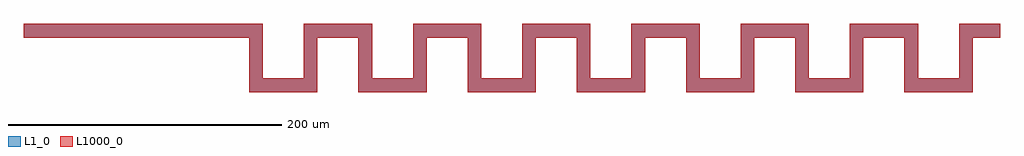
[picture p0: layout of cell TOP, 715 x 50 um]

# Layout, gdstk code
from math import pi, radians
import gdstk
lib = gdstk.Library(unit=1e-6, precision=1e-09)
def R(c, l, rs):  # rectangles x0, y0, x1, y1
    for r in rs: c.add(gdstk.rectangle(r[:2], r[2:], *l))
def P(c, l, *ps):  # polygons
    for p in ps: c.add(gdstk.Polygon(p, *l))
L1_0 = (1, 0)
L1000_0 = (1000, 0)

c_me = lib.new_cell('ME')
c_me.add(gdstk.FlexPath([(9,12),(9,32),(-16,32)], 10, ends="flush", simple_path=True, layer=1, datatype=0))  # L1_0

top = lib.new_cell('TOP')
R(top, L1_0, [(0,40,145,50)])
R(top, L1000_0, [(0,40,145,50)])
P(top, L1000_0, [(645,25),(645,40),(625,40),(625,50),(655,50),(655,25)],
  [(605,25),(605,50),(635,50),(635,40),(615,40),(615,25)],
  [(585,0),(585,10),(605,10),(605,25),(615,25),(615,0)],
  [(645,0),(645,25),(655,25),(655,10),(675,10),(675,0)],
  [(685,25),(685,50),(715,50),(715,40),(695,40),(695,25)],
  [(665,0),(665,10),(685,10),(685,25),(695,25),(695,0)],
  [(525,25),(525,50),(555,50),(555,40),(535,40),(535,25)],
  [(565,25),(565,40),(545,40),(545,50),(575,50),(575,25)],
  [(505,0),(505,10),(525,10),(525,25),(535,25),(535,0)],
  [(565,0),(565,25),(575,25),(575,10),(595,10),(595,0)],
  [(445,25),(445,50),(475,50),(475,40),(455,40),(455,25)],
  [(485,25),(485,40),(465,40),(465,50),(495,50),(495,25)],
  [(425,0),(425,10),(445,10),(445,25),(455,25),(455,0)],
  [(485,0),(485,25),(495,25),(495,10),(515,10),(515,0)],
  [(405,0),(405,25),(415,25),(415,10),(435,10),(435,0)],
  [(405,25),(405,40),(385,40),(385,50),(415,50),(415,25)],
  [(325,0),(325,25),(335,25),(335,10),(355,10),(355,0)],
  [(345,0),(345,10),(365,10),(365,25),(375,25),(375,0)],
  [(325,25),(325,40),(305,40),(305,50),(335,50),(335,25)],
  [(365,25),(365,50),(395,50),(395,40),(375,40),(375,25)],
  [(245,0),(245,25),(255,25),(255,10),(275,10),(275,0)],
  [(265,0),(265,10),(285,10),(285,25),(295,25),(295,0)],
  [(245,25),(245,40),(225,40),(225,50),(255,50),(255,25)],
  [(285,25),(285,50),(315,50),(315,40),(295,40),(295,25)],
  [(165,0),(165,25),(175,25),(175,10),(195,10),(195,0)],
  [(185,0),(185,10),(205,10),(205,25),(215,25),(215,0)],
  [(165,25),(165,40),(145,40),(145,50),(175,50),(175,25)],
  [(205,25),(205,50),(235,50),(235,40),(215,40),(215,25)])
r = gdstk.Reference(c_me, (699,13), rotation=pi, x_reflection=True); r.repetition = gdstk.Repetition(4, 1, v1=(-80,0), v2=(0,0)); top.add(r)
r = gdstk.Reference(c_me, (481,13)); r.repetition = gdstk.Repetition(3, 1, v1=(80,0), v2=(0,0)); top.add(r)
r = gdstk.Reference(c_me, (659,37), rotation=pi); r.repetition = gdstk.Repetition(3, 1, v1=(-80,0), v2=(0,0)); top.add(r)
r = gdstk.Reference(c_me, (441,37), x_reflection=True); r.repetition = gdstk.Repetition(4, 1, v1=(80,0), v2=(0,0)); top.add(r)
r = gdstk.Reference(c_me, (419,37), rotation=pi); r.repetition = gdstk.Repetition(4, 1, v1=(-80,0), v2=(0,0)); top.add(r)
r = gdstk.Reference(c_me, (201,37), x_reflection=True); r.repetition = gdstk.Repetition(3, 1, v1=(80,0), v2=(0,0)); top.add(r)
r = gdstk.Reference(c_me, (379,13), rotation=pi, x_reflection=True); r.repetition = gdstk.Repetition(3, 1, v1=(-80,0), v2=(0,0)); top.add(r)
r = gdstk.Reference(c_me, (161,13)); r.repetition = gdstk.Repetition(4, 1, v1=(80,0), v2=(0,0)); top.add(r)

lib.write_gds('TOP.gds')
